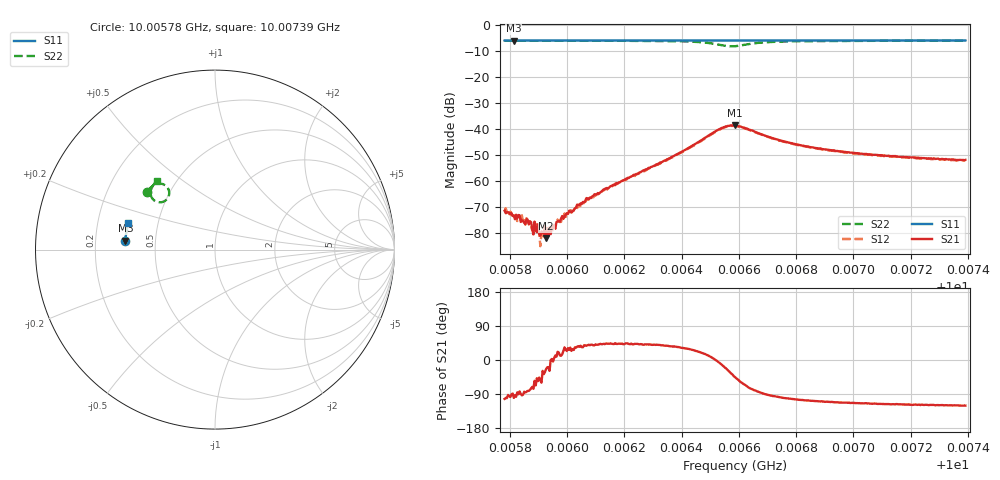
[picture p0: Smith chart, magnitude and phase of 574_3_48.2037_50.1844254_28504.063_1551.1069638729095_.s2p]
#  HZ  S  RI  R  50.00
! Rohde & Schwarz Vector Network Analyzer
! Rohde-Schwarz,ZNB20-2Port,1311601062101988,3.16
! Created: UTC 3/20/2024, 12:01:49 PM
! freq[Hz]  re:S11  im:S11  re:S21  im:S21  re:S12  im:S12  re:S22  im:S22
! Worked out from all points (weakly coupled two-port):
!   401 points, 10.00578 GHz to 10.00739 GHz, reference 50 ohm
!   highest |S21| = -38.63 dB at 10.00659 GHz (marker M1); lowest = -82.1 dB at 10.00593 GHz (marker M2)
!   lowest |S11| = -6.0 dB at 10.00581 GHz (marker M3), VSWR 3.02, Z = 16.6 + j2.18 ohm
!   |S11| at or under -10 dB: nowhere
!   |S22| runs from -8.2 to -6.0 dB; largest |S21 - S12| = 0.00085
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1.0005782e10  -0.4998 0.0471  -5.79e-05 -0.000259  3.09e-06 -0.000259  -0.3786 0.3229
1.0005814e10  -0.4995 0.0491  -3.78e-05 -0.000212  -3.45e-05 -0.000225  -0.3769 0.3249
1.000583e10  -0.4996 0.0502  -1.66e-06 -0.00022  -2.24e-05 -0.000186  -0.3762 0.3259
1.0005846e10  -0.4994 0.0512  -5.32e-06 -0.000168  1.61e-07 -0.000157  -0.3754 0.3269
1.0005867e10  -0.4993 0.0526  2.11e-05 -0.000143  2.36e-05 -0.000163  -0.3742 0.3282
1.0005875e10  -0.4994 0.053  4.2e-05 -0.000155  5.14e-05 -0.000126  -0.3738 0.3287
1.0005903e10  -0.4991 0.0549  6.52e-05 -6.81e-05  8.41e-05 -7.09e-05  -0.3723 0.3306
1.0005911e10  -0.4991 0.0555  5.26e-05 -9.01e-05  8.88e-05 -4.75e-05  -0.3719 0.3309
1.0005927e10  -0.499 0.0565  7.15e-05 -3.18e-05  0.000109 -2.42e-05  -0.3711 0.3318
1.0005943e10  -0.499 0.0574  9.39e-05 -1.77e-07  9.07e-05 -3.2e-05  -0.3701 0.3329
1.0005959e10  -0.4988 0.0585  0.000117 2.42e-05  0.000142 3.74e-05  -0.3691 0.3341
1.0006003e10  -0.4986 0.0616  0.000197 0.00012  0.000217 9.72e-05  -0.3665 0.3368
1.0006052e10  -0.4983 0.0645  0.000298 0.000199  0.000286 0.000237  -0.3633 0.3401
1.0006128e10  -0.4978 0.0697  0.000502 0.000464  0.000454 0.000471  -0.358 0.3456
1.0006321e10  -0.4961 0.0822  0.00165 0.00138  0.00156 0.00141  -0.3365 0.3611
1.0006454e10  -0.4947 0.0909  0.00493 0.00213  0.00472 0.00234  -0.2985 0.3668
1.0006534e10  -0.4932 0.0956  0.00994 -0.00148  0.00976 -0.000948  -0.2561 0.3257
1.0006586e10  -0.4927 0.0984  0.00825 -0.0083  0.00848 -0.00759  -0.2846 0.2683
1.0006675e10  -0.4925 0.1039  0.00058 -0.00799  0.000973 -0.00783  -0.3532 0.2912
1.0006856e10  -0.4905 0.1156  -0.00134 -0.00421  -0.00116 -0.00418  -0.3544 0.3399
1.0007125e10  -0.4869 0.1329  -0.00135 -0.0027  -0.00116 -0.00268  -0.3384 0.3661
1.0007391e10  -0.4825 0.1493  -0.00128 -0.00219  -0.00113 -0.00216  -0.3236 0.3823
